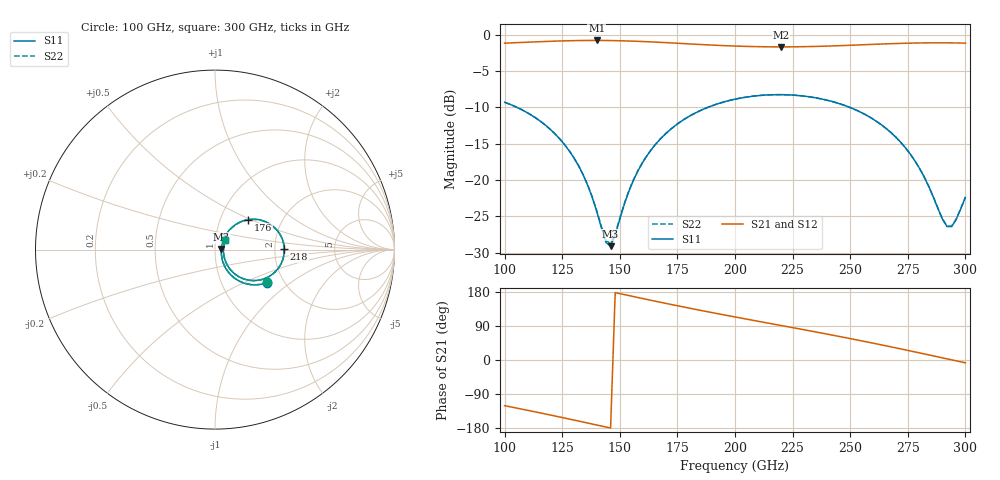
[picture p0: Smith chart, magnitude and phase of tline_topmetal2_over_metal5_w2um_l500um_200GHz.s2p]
#  GHZ S DB R 50
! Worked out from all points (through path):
!   101 points, 100 GHz to 300 GHz, reference 50 ohm
!   highest |S21| = -0.81 dB at 140 GHz (marker M1); lowest = -1.7 dB at 220 GHz (marker M2)
!   group delay of S21, straight-line fit = 3.38 ps
!   lowest |S11| = -29.1 dB at 146 GHz (marker M3), VSWR 1.07, Z = 53.6 + j0.29 ohm
!   |S11| at or under -10 dB: 105.3 GHz to 188.3 GHz (83.04 GHz wide, 56.6 % of centre); 249.7 GHz to end of sweep
!   |S22| runs from -28.8 to -8.3 dB; largest |S21 - S12| = 1e-14
!   S11 on the Smith chart (normalised r, x): 100 GHz: 1.64, -0.68; 176 GHz: 1.35, +0.48; 218 GHz: 2.26, +0.01; 300 GHz: 1.11, +0.11
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100  -9.31 -32.5  -1.18 -120.6  -1.18 -120.6  -9.31 -32.3
120  -13.09 -52.4  -0.92 -145.4  -0.92 -145.4  -13.08 -52.2
128  -15.97 -58.6  -0.85 -155.7  -0.85 -155.7  -15.96 -58.2
134  -19.24 -60.1  -0.82 -163.6  -0.82 -163.6  -19.21 -59.5
140  -24.35 -51.2  -0.81 -171.6  -0.81 -171.6  -24.25 -50.1
144  -28.60 -22.1  -0.82 -176.9  -0.82 -176.9  -28.31 -21.2
146  -29.11 4.4  -0.82 -179.5  -0.82 -179.5  -28.77 4.3
156  -19.98 53.7  -0.91 167.3  -0.91 167.3  -19.92 53.0
162  -16.56 53.2  -0.98 159.5  -0.98 159.5  -16.54 52.6
168  -14.23 49.2  -1.07 151.9  -1.07 151.9  -14.21 48.8
176  -12.07 42.1  -1.21 141.9  -1.21 141.9  -12.06 41.8
200  -8.89 18.4  -1.58 113.6  -1.58 113.6  -8.88 18.2
218  -8.27 0.4  -1.69 93.3  -1.69 93.3  -8.26 0.2
220  -8.27 -1.6  -1.69 91.0  -1.69 91.0  -8.26 -1.7
234  -8.64 -15.5  -1.64 75.2  -1.64 75.2  -8.64 -15.7
252  -10.30 -33.4  -1.44 54.1  -1.44 54.1  -10.30 -33.5
268  -13.57 -47.7  -1.25 34.3  -1.25 34.3  -13.57 -47.7
280  -18.36 -52.2  -1.15 18.8  -1.15 18.8  -18.34 -52.2
292  -26.40 -10.7  -1.13 3.1  -1.13 3.1  -26.33 -10.7
294  -26.43 7.7  -1.14 0.5  -1.14 0.5  -26.36 7.5
296  -25.44 23.8  -1.15 -2.2  -1.15 -2.2  -25.38 23.4
300  -22.40 42.2  -1.17 -7.4  -1.17 -7.4  -22.37 41.8
